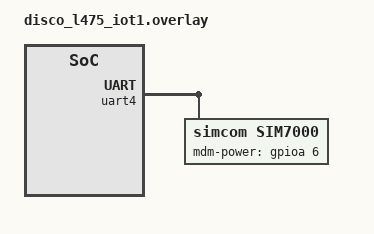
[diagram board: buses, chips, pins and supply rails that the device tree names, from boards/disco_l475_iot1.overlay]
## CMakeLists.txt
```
# SPDX-License-Identifier: Apache-2.0

cmake_minimum_required(VERSION 3.13.1)

find_package(Zephyr REQUIRED HINTS $ENV{ZEPHYR_BASE})
project(sim7000)

target_sources(app PRIVATE src/main.c)
```

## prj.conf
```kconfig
# UART support
CONFIG_SERIAL=y

# # GSM modem support
# CONFIG_MODEM=y
# CONFIG_MODEM_GSM_PPP=y
# CONFIG_MODEM_GSM_UART_NAME="UART_4"

# # PPP networking support
# CONFIG_NET_PPP=y
# CONFIG_NET_L2_PPP=y
# CONFIG_NET_NATIVE=y
# CONFIG_NETWORKING=y

# CONFIG_NET_L2_PPP_TIMEOUT=10000

# IPv4 enables PPP IPCP support
CONFIG_NET_IPV4=y
CONFIG_NET_IPV6=n
CONFIG_MODEM_GSM_APN="internet"

# # Network management events
# CONFIG_NET_CONNECTION_MANAGER=y

# # Log buffers, modem and PPP
# CONFIG_LOG=y
# CONFIG_NET_LOG=y
# #CONFIG_LOG_BUFFER_SIZE=16384
# #CONFIG_LOG_STRDUP_BUF_COUNT=200
# #CONFIG_MODEM_LOG_LEVEL_DBG=y
# #CONFIG_NET_PPP_LOG_LEVEL_DBG=y
# #CONFIG_NET_L2_PPP_LOG_LEVEL_DBG=y
# #CONFIG_NET_MGMT_EVENT_LOG_LEVEL_DBG=y
# #CONFIG_NET_CONNECTION_MANAGER_LOG_LEVEL_DBG=y

# CONFIG_NET_SHELL=y
# CONFIG_MODEM_SHELL=y
```

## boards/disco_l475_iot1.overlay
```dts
/*
 * Copyright (c) 2022, Rafael Dias
 *
 * SPDX-License-Identifier: Apache-2.0
 *
 * Application overlay for simcom 7000 modem driver builds
 *
 * Names in this file should be chosen in a way that won't conflict
 * with real-world devicetree nodes, to allow these tests to run on
 * (and be extended to test) real hardware.
 */
  
&uart4 {
  sim7000 {
    status = "okay";
    compatible = "simcom,sim7000";
    label = "SIM7000";
    mdm-power-gpios = <&gpioa 6 (GPIO_PULL_UP | GPIO_ACTIVE_HIGH)>;
  };
};
```

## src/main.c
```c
/*
 * Copyright (c) 2020, Intel Corporation
 *
 * SPDX-License-Identifier: Apache-2.0
 */


#include <zephyr.h>
#include <sys/printk.h>
#include <shell/shell.h>
#include <drivers/uart.h>
#include <drivers/gpio.h>
#include <net/net_mgmt.h>
#include <net/net_event.h>
#include <net/net_conn_mgr.h> 
#include <drivers/modem/gsm_ppp.h>    

#include <logging/log.h>

#define LED0_NODE DT_ALIAS(led1)

#if DT_NODE_HAS_STATUS(LED0_NODE, okay)
#define LED0 		DT_GPIO_LABEL(LED0_NODE, gpios)
#define LED0_PIN 	DT_GPIO_PIN(LED0_NODE, gpios)
#define LED0_FLAGS 	DT_GPIO_FLAGS(LED0_NODE, gpios)
#else
// this means that the board don't have a LED2
#error "Unsuported board: led0 devicetree alias is not defined"
#define LED0 		""
#define LED0_PIN 	0
#define LED0_FLAGS 	0
#endif

#define SLEEP_TIME_MS 500


LOG_MODULE_REGISTER(sample_gsm_ppp, LOG_LEVEL_DBG);

static const struct device *gsm_dev;
static struct net_mgmt_event_callback mgmt_cb;
static bool connected;
static bool starting = true;

int main()
{
	int ret;
	bool led_status = false;

	const struct device *uart_dev =
		DEVICE_DT_GET(DT_BUS(DT_INST(0, simcom_sim7000)));

	const struct device *led0 = device_get_binding(LED0);
	if(led0 ==  NULL)
	{
		return;
	}

	ret = gpio_pin_configure(led0, LED0_PIN, GPIO_OUTPUT_ACTIVE | LED0_FLAGS);
	if(ret < 0)
	{
		return;
	}

	while(1)
	{
		gpio_pin_set(led0, LED0_PIN, (int)led_status);
		led_status = !led_status;
		k_msleep(SLEEP_TIME_MS);
	}

	return 0;
}

// static int cmd_sample_modem_suspend(const struct shell *shell,
// 				    size_t argc, char *argv[])
// {
// 	if (!connected) {
// 		shell_fprintf(shell, SHELL_NORMAL, "Not connected.\n");
// 		return -ENOEXEC;
// 	}

// 	gsm_ppp_stop(gsm_dev);

// 	return 0;
// }

// static int cmd_sample_modem_resume(const struct shell *shell,
// 				   size_t argc, char *argv[])
// {
// 	if (starting) {
// 		shell_fprintf(shell, SHELL_NORMAL,
// 			      "Please wait for network connection.\n");
// 		return -ENOEXEC;
// 	}

// 	if (connected) {
// 		shell_fprintf(shell, SHELL_NORMAL, "Already connected.\n");
// 		return -ENOEXEC;
// 	}

// 	gsm_ppp_start(gsm_dev);

// 	return 0;
// }

// SHELL_STATIC_SUBCMD_SET_CREATE(sample_commands,
// 	SHELL_CMD(resume, NULL,
// 		  "Resume the modem\n",
// 		  cmd_sample_modem_resume),
// 	SHELL_CMD(suspend, NULL,
// 		  "Suspend the modem\n",
// 		  cmd_sample_modem_suspend),
// 	SHELL_SUBCMD_SET_END
// );

// SHELL_CMD_REGISTER(sample, &sample_commands,
// 		   "Sample application commands", NULL);


// static void event_handler(struct net_mgmt_event_callback *cb,
// 			  uint32_t mgmt_event, struct net_if *iface)
// {
// 	if ((mgmt_event & (NET_EVENT_L4_CONNECTED
// 			   | NET_EVENT_L4_DISCONNECTED)) != mgmt_event) {
// 		return;
// 	}

// 	starting = false;

// 	if (mgmt_event == NET_EVENT_L4_CONNECTED) {
// 		LOG_INF("Network connected");
// 		connected = true;
// 		return;
// 	}

// 	if (mgmt_event == NET_EVENT_L4_DISCONNECTED) {
// 		LOG_INF("Network disconnected");
// 		connected = false;
// 		return;
// 	}
// }

// static void modem_on_cb(const struct device *dev, void *user_data)
// {
// 	ARG_UNUSED(dev);
// 	ARG_UNUSED(user_data);

// 	LOG_INF("GSM modem on callback fired");
// }

// static void modem_off_cb(const struct device *dev, void *user_data)
// {
// 	ARG_UNUSED(dev);
// 	ARG_UNUSED(user_data);

// 	LOG_INF("GSM modem off callback fired");
// }

// int main(void)
// {
// 	const struct device *uart_dev =
// 		DEVICE_DT_GET(DT_BUS(DT_INST(0, zephyr_gsm_ppp)));

// 	gsm_dev = DEVICE_DT_GET(DT_INST(0, zephyr_gsm_ppp));

// 	/* Optional register modem power callbacks */
// 	gsm_ppp_register_modem_power_callback(gsm_dev, modem_on_cb, modem_off_cb, NULL);

// 	LOG_INF("Board '%s' APN '%s' UART '%s' device %p (%s)",
// 		CONFIG_BOARD, CONFIG_MODEM_GSM_APN,
// 		DT_BUS_LABEL(DT_INST(0, zephyr_gsm_ppp)), uart_dev,
// 		gsm_dev->name);

// 	net_mgmt_init_event_callback(&mgmt_cb, event_handler,
// 				     NET_EVENT_L4_CONNECTED |
// 				     NET_EVENT_L4_DISCONNECTED);
// 	net_mgmt_add_event_callback(&mgmt_cb);

// 	return 0;
// }
```
